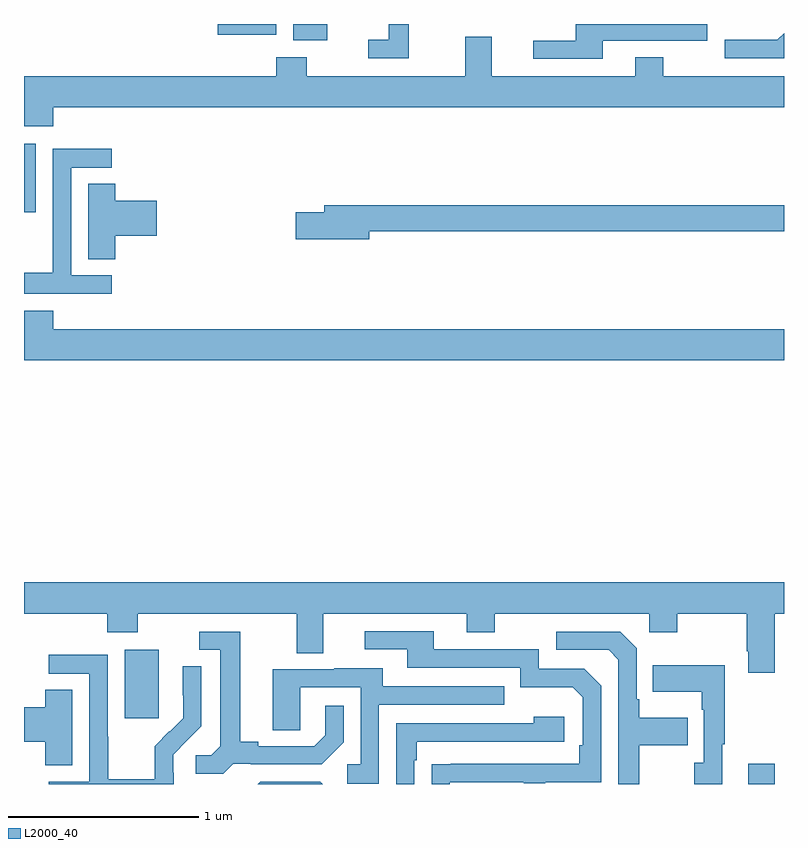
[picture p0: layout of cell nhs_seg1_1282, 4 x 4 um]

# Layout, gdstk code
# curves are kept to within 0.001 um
import gdstk
lib = gdstk.Library(unit=1e-6, precision=1e-09)
def R(c, l, rs):  # rectangles x0, y0, x1, y1
    for r in rs: c.add(gdstk.rectangle(r[:2], r[2:], *l))
def P(c, l, *ps):  # polygons
    for p in ps: c.add(gdstk.Polygon(p, *l))
L2000_40 = (2000, 40)

nhs_seg1_1282 = lib.new_cell('nhs_seg1_1282')
R(nhs_seg1_1282, L2000_40, [(184.811,520.199,184.951,520.306), (181.529,520.545,181.708,520.906), (181,523.209,181.063,523.57), (182.417,524.114,182.596,524.199), (182.019,524.143,182.328,524.199)])
P(nhs_seg1_1282, L2000_40, [(184.045,524.112),(184.596,524.112),(184.596,524.199),(183.905,524.199),(183.905,524.112),(183.681,524.112),(183.681,524.016),(184.045,524.016)],
  [(183.025,524.199),(182.921,524.199),(182.921,524.115),(182.811,524.115),(182.811,524.019),(183.025,524.019)],
  [(185,524.15),(184.965,524.115),(184.689,524.115),(184.689,524.019),(185,524.019)],
  [(181.154,523.76),(185,523.76),(185,523.924),(184.365,523.924),(184.365,524.023),(184.217,524.023),(184.217,523.924),(183.463,523.924),(183.463,524.132),(183.323,524.132),(183.323,523.924),(182.487,523.924),(182.487,524.023),(182.327,524.023),(182.327,523.924),(181,523.924),(181,523.661),(181.154,523.661)],
  [(181.462,522.876),(181.248,522.876),(181.248,523.443),(181.462,523.443),(181.462,523.542),(181.152,523.542),(181.152,523.112),(181.15,523.112),(181.15,522.889),(181,522.889),(181,522.78),(181.462,522.78)],
  [(181.481,523.085),(181.699,523.085),(181.699,523.268),(181.481,523.268),(181.481,523.358),(181.337,523.358),(181.337,522.961),(181.481,522.961)],
  [(182.818,523.108),(185,523.108),(185,523.244),(182.579,523.244),(182.579,523.208),(182.43,523.208),(182.43,523.066),(182.818,523.066)],
  [(185,522.592),(181.154,522.592),(181.154,522.691),(181.001,522.691),(181.001,522.592),(181,522.592),(181,522.428),(185,522.428)],
  [(184.951,521.096),(185,521.096),(185,521.26),(181,521.26),(181,521.096),(181.439,521.096),(181.439,520.997),(181.599,520.997),(181.599,521.096),(182.435,521.096),(182.435,520.888),(182.575,520.888),(182.575,521.096),(183.329,521.096),(183.329,520.997),(183.477,520.997),(183.477,521.096),(184.29,521.096),(184.29,520.997),(184.437,520.997),(184.437,521.096),(184.804,521.096),(184.804,520.897),(184.811,520.897),(184.811,520.785),(184.951,520.785)],
  [(183.241,520.209),(183.631,520.209),(183.631,520.204),(183.743,520.204),(183.743,520.209),(184.038,520.209),(184.038,520.716),(183.948,520.806),(183.708,520.806),(183.708,520.908),(183.157,520.908),(183.157,521.004),(182.793,521.004),(182.793,520.908),(183.017,520.908),(183.017,520.812),(183.612,520.812),(183.612,520.709),(183.889,520.709),(183.942,520.656),(183.942,520.402),(183.922,520.402),(183.922,520.305),(183.145,520.304),(183.145,520.199),(183.241,520.199)],
  [(184.237,520.402),(184.493,520.402),(184.493,520.549),(184.237,520.549),(184.237,520.645),(184.224,520.645),(184.224,520.914),(184.137,521.001),(183.801,521.001),(183.801,520.905),(184.077,520.905),(184.128,520.854),(184.128,520.199),(184.237,520.199)],
  [(182.1,520.305),(182.194,520.305),(182.194,520.302),(182.566,520.302),(182.682,520.418),(182.682,520.612),(182.585,520.612),(182.585,520.455),(182.528,520.398),(182.233,520.398),(182.233,520.421),(182.137,520.421),(182.137,521.001),(181.923,521.001),(181.923,520.905),(182.033,520.905),(182.033,520.397),(181.986,520.35),(181.905,520.35),(181.905,520.253),(182.048,520.253)],
  [(181.788,520.257),(181.786,520.257),(181.786,520.354),(181.932,520.502),(181.932,520.82),(181.836,520.82),(181.836,520.666),(181.838,520.666),(181.838,520.544),(181.767,520.473),(181.764,520.476),(181.687,520.399),(181.687,520.225),(181.443,520.225),(181.443,520.448),(181.44,520.448),(181.44,520.878),(181.131,520.878),(181.131,520.779),(181.344,520.779),(181.344,520.212),(181.131,520.212),(181.131,520.199),(181.788,520.199)],
  [(184.675,520.409),(184.687,520.409),(184.687,520.825),(184.309,520.825),(184.309,520.685),(184.566,520.685),(184.566,520.589),(184.578,520.589),(184.578,520.31),(184.527,520.31),(184.527,520.199),(184.675,520.199)],
  [(182.868,520.617),(183.527,520.617),(183.527,520.713),(182.887,520.713),(182.887,520.807),(182.633,520.807),(182.633,520.803),(182.309,520.803),(182.309,520.483),(182.454,520.483),(182.454,520.707),(182.772,520.707),(182.772,520.302),(182.7,520.302),(182.7,520.201),(182.868,520.201)],
  [(181.255,520.694),(181.112,520.694),(181.112,520.604),(181,520.604),(181,520.421),(181.112,520.421),(181.112,520.297),(181.255,520.297)],
  [(183.054,520.325),(183.067,520.325),(183.067,520.422),(183.844,520.422),(183.844,520.552),(183.683,520.552),(183.683,520.518),(182.958,520.518),(182.958,520.199),(183.054,520.199)],
  [(182.559,520.212),(182.244,520.212),(182.231,520.199),(182.572,520.199)])

lib.write_gds('nhs_seg1_1282.gds')
